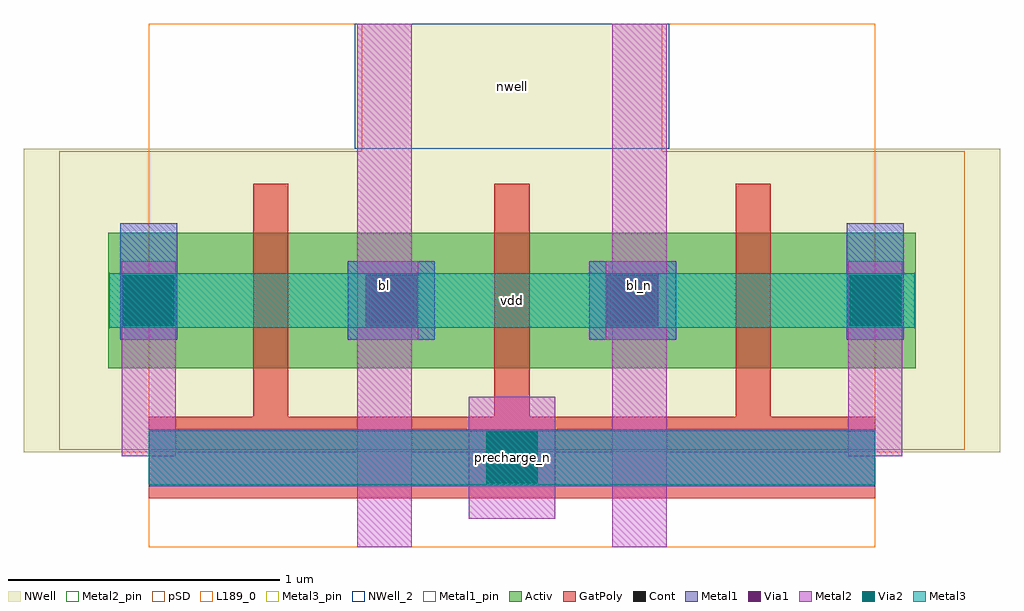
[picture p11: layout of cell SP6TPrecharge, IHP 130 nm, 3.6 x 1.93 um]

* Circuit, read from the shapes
.subckt SP6TPrecharge bl bl_n nwell precharge_n vdd
XM1 bl precharge_n vdd nwell sg13_lv_pmos w=0.5u l=0.13u
XM2 bl_n precharge_n bl nwell sg13_lv_pmos w=0.5u l=0.13u
XM3 vdd precharge_n bl_n nwell sg13_lv_pmos w=0.5u l=0.13u
.ends

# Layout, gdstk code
import gdstk
lib = gdstk.Library(unit=1e-6, precision=1e-09)
def R(c, l, rs):  # rectangles x0, y0, x1, y1
    for r in rs: c.add(gdstk.rectangle(r[:2], r[2:], *l))
def P(c, l, *ps):  # polygons
    for p in ps: c.add(gdstk.Polygon(p, *l))
Activ = (1, 0)
GatPoly = (5, 0)
Cont = (6, 0)
Metal1 = (8, 0)
Metal1_pin = (8, 2)
Metal2 = (10, 0)
Metal2_pin = (10, 2)
pSD = (14, 0)
Via1 = (19, 0)
Via2 = (29, 0)
Metal3 = (30, 0)
Metal3_pin = (30, 2)
NWell = (31, 0)
NWell_2 = (31, 2)
L189_0 = (189, 0)

sp6tprecharge = lib.new_cell('SP6TPrecharge')
R(sp6tprecharge, Activ, [(-0.15,0.66,2.83,1.16)])
P(sp6tprecharge, GatPoly, [(0,0.18),(0,0.48),(0.385,0.48),(0.385,1.34),(0.515,1.34),(0.515,0.48),(1.275,0.48),(1.275,1.34),(1.405,1.34),(1.405,0.48),(2.165,0.48),(2.165,1.34),(2.295,1.34),(2.295,0.48),(2.68,0.48),(2.68,0.18)])
R(sp6tprecharge, Cont, [(1.26,0.25,1.42,0.41), (-0.08,0.83,0.08,0.99), (0.815,0.83,0.975,0.99), (1.705,0.83,1.865,0.99), (2.6,0.83,2.76,0.99)])
R(sp6tprecharge, Metal1, [(0,0.225,2.68,0.435), (-0.105,0.765,0.105,1.195), (0.735,0.765,1.055,1.055), (1.625,0.765,1.945,1.055), (2.575,0.765,2.785,1.195)])
R(sp6tprecharge, Metal1_pin, [(0,0.225,2.68,0.435)])
R(sp6tprecharge, Metal2, [(1.18,0.105,1.5,0.555), (-0.1,0.335,0.1,1.055), (2.58,0.335,2.78,1.055)])
P(sp6tprecharge, Metal2, [(0.77,0),(0.77,1.93),(0.97,1.93),(0.97,1.055),(0.995,1.055),(0.995,0.765),(0.97,0.765),(0.97,0)],
  [(1.71,0),(1.71,0.765),(1.685,0.765),(1.685,1.055),(1.71,1.055),(1.71,1.93),(1.91,1.93),(1.91,0)])
R(sp6tprecharge, Metal2_pin, [(0.77,0,0.97,1.93), (1.71,0,1.91,1.93)])
P(sp6tprecharge, pSD, [(-0.33,0.36),(-0.33,1.46),(0.785,1.46),(0.785,1.93),(1.895,1.93),(1.895,1.46),(3.01,1.46),(3.01,0.36)])
R(sp6tprecharge, Via1, [(1.245,0.235,1.435,0.425), (-0.095,0.815,0.095,1.005), (0.8,0.815,0.99,1.005), (1.69,0.815,1.88,1.005), (2.585,0.815,2.775,1.005)])
R(sp6tprecharge, Via2, [(1.245,0.235,1.435,0.425), (-0.095,0.815,0.095,1.005), (2.585,0.815,2.775,1.005)])
R(sp6tprecharge, Metal3, [(0,0.23,2.68,0.43), (-0.145,0.81,2.825,1.01)])
R(sp6tprecharge, Metal3_pin, [(0,0.23,2.68,0.43), (-0.145,0.81,2.825,1.01)])
P(sp6tprecharge, NWell, [(-0.46,0.35),(-0.46,1.47),(0.76,1.47),(0.76,1.93),(1.92,1.93),(1.92,1.47),(3.14,1.47),(3.14,0.35)])
R(sp6tprecharge, NWell_2, [(0.76,1.47,1.92,1.93)])
R(sp6tprecharge, L189_0, [(0,0,2.68,1.93)])
sp6tprecharge.add(gdstk.Label('bl', (0.87,0.965), layer=10, texttype=25))
sp6tprecharge.add(gdstk.Label('bl_n', (1.81,0.965), layer=10, texttype=25))
sp6tprecharge.add(gdstk.Label('precharge_n', (1.34,0.33), layer=30, texttype=25))
sp6tprecharge.add(gdstk.Label('vdd', (1.34,0.91), layer=30, texttype=25))
sp6tprecharge.add(gdstk.Label('nwell', (1.34,1.7), layer=31, texttype=25))
sp6tprecharge.add(gdstk.Label('precharge_n', (1.34,0.33), layer=8, texttype=25))

lib.write_gds('SP6TPrecharge.gds')
